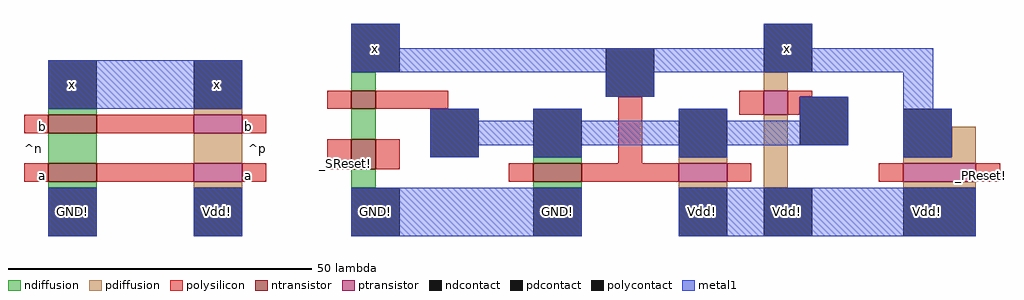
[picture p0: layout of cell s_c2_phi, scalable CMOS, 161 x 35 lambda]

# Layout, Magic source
magic
tech scmos
<< ndiffusion >>
rect -120 105 -112 106
rect -70 109 -66 112
rect -120 97 -112 102
rect -70 101 -66 106
rect -40 97 -32 98
rect -120 93 -112 94
rect -70 93 -66 96
rect -40 93 -32 94
<< pdiffusion >>
rect -2 109 2 112
rect -96 105 -88 106
rect -96 97 -88 102
rect -16 97 -8 98
rect -96 93 -88 94
rect -16 93 -8 94
rect -2 93 2 105
rect 29 98 33 103
rect 21 97 33 98
rect 21 93 33 94
<< ntransistor >>
rect -70 106 -66 109
rect -120 102 -112 105
rect -120 94 -112 97
rect -70 96 -66 101
rect -40 94 -32 97
<< ptransistor >>
rect -96 102 -88 105
rect -96 94 -88 97
rect -2 105 2 109
rect -16 94 -8 97
rect 21 94 33 97
<< polysilicon >>
rect -74 106 -70 109
rect -66 106 -54 109
rect -124 102 -120 105
rect -112 102 -96 105
rect -88 102 -84 105
rect -124 94 -120 97
rect -112 94 -96 97
rect -88 94 -84 97
rect -74 96 -70 101
rect -66 96 -62 101
rect -26 97 -22 108
rect -6 105 -2 109
rect 2 108 6 109
rect 2 105 4 108
rect -44 94 -40 97
rect -32 94 -16 97
rect -8 94 -4 97
rect 17 94 21 97
rect 33 94 37 97
<< ndcontact >>
rect -120 106 -112 114
rect -70 112 -62 120
rect -40 98 -32 106
rect -120 85 -112 93
rect -70 85 -62 93
rect -40 85 -32 93
<< pdcontact >>
rect -96 106 -88 114
rect -2 112 6 120
rect -16 98 -8 106
rect -96 85 -88 93
rect -16 85 -8 93
rect 21 98 29 106
rect -2 85 6 93
rect 21 85 33 93
<< polycontact >>
rect -28 108 -20 116
rect -57 98 -49 106
rect 4 100 12 108
<< metal1 >>
rect -70 116 -62 120
rect -2 116 6 120
rect -120 106 -88 114
rect -70 112 26 116
rect -28 108 -20 112
rect -57 104 -49 106
rect -40 104 -32 106
rect -16 104 -8 106
rect 4 104 12 108
rect -57 100 12 104
rect 21 106 26 112
rect -57 98 -49 100
rect -40 98 -32 100
rect -16 98 -8 100
rect 21 98 29 106
rect -120 85 -112 93
rect -96 85 -88 93
rect -70 85 -32 93
rect -16 85 33 93
<< labels >>
rlabel metal1 -116 110 -116 110 5 x
rlabel metal1 -116 89 -116 89 1 GND!
rlabel polysilicon -121 95 -121 95 3 a
rlabel polysilicon -121 103 -121 103 3 b
rlabel metal1 -92 110 -92 110 5 x
rlabel polysilicon -87 95 -87 95 7 a
rlabel polysilicon -87 103 -87 103 7 b
rlabel metal1 -92 89 -92 89 1 Vdd!
rlabel space -125 85 -120 114 7 ^n
rlabel space -88 85 -83 114 3 ^p
rlabel ndcontact -36 89 -36 89 1 GND!
rlabel pdcontact -12 89 -12 89 1 Vdd!
rlabel metal1 -66 89 -66 89 1 GND!
rlabel polysilicon -71 97 -71 97 1 _SReset!
rlabel metal1 -66 116 -66 116 1 x
rlabel metal1 2 89 2 89 1 Vdd!
rlabel metal1 2 116 2 116 1 x
rlabel metal1 25 89 25 89 8 Vdd!
rlabel polysilicon 34 95 34 95 7 _PReset!
<< end >>
